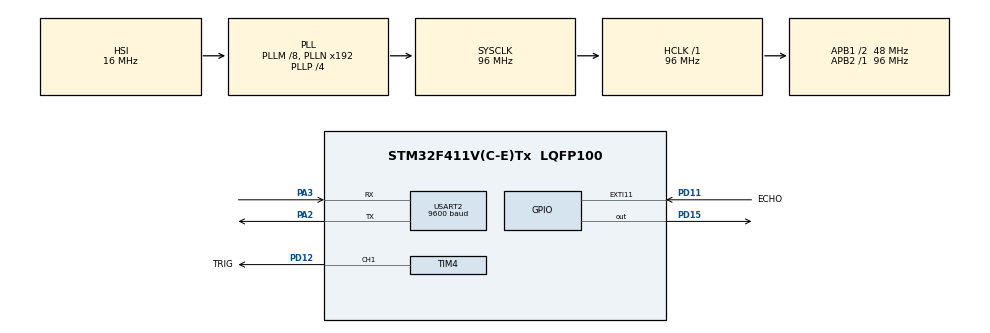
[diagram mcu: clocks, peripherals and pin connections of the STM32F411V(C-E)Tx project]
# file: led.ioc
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Mcu.Family=STM32F4
Mcu.Name=STM32F411V(C-E)Tx
Mcu.Package=LQFP100
NVIC.EXTI15_10_IRQn=true\:0\:0\:false\:false\:true\:true\:true
NVIC.PriorityGroup=NVIC_PRIORITYGROUP_4
NVIC.RCC_IRQn=true\:0\:0\:false\:false\:true\:true\:false
NVIC.TIM1_TRG_COM_TIM11_IRQn=true\:0\:0\:false\:false\:true\:true\:true
NVIC.TIM4_IRQn=true\:0\:0\:false\:false\:true\:true\:true
NVIC.USART2_IRQn=true\:0\:0\:false\:false\:true\:true\:true
PA2.Mode=Asynchronous
PA2.Signal=USART2_TX
PA3.Mode=Asynchronous
PA3.Signal=USART2_RX
PD11.GPIO_Label=ECHO
PD11.GPIO_ModeDefaultEXTI=GPIO_MODE_IT_RISING_FALLING
PD11.Signal=GPXTI11
PD12.GPIO_Label=TRIG
PD12.Signal=S_TIM4_CH1
PD15.Signal=GPIO_Output
PH0\ -\ OSC_IN.Mode=HSE-External-Oscillator
PH0\ -\ OSC_IN.Signal=RCC_OSC_IN
PH1\ -\ OSC_OUT.Mode=HSE-External-Oscillator
PH1\ -\ OSC_OUT.Signal=RCC_OSC_OUT
ProjectManager.HeapSize=0x200
ProjectManager.StackSize=0x400
ProjectManager.TargetToolchain=SW4STM32
RCC.48MHZClocksFreq_Value=96000000
RCC.AHBFreq_Value=96000000
RCC.APB1CLKDivider=RCC_HCLK_DIV2
RCC.APB1Freq_Value=48000000
RCC.APB1TimFreq_Value=96000000
RCC.APB2Freq_Value=96000000
RCC.APB2TimFreq_Value=96000000
RCC.CortexFreq_Value=96000000
RCC.HCLKFreq_Value=96000000
RCC.HSE_VALUE=25000000
RCC.HSI_VALUE=16000000
RCC.LSE_VALUE=32768
RCC.PLLM=8
RCC.PLLP=RCC_PLLP_DIV4
RCC.SYSCLKFreq_VALUE=96000000
RCC.SYSCLKSource=RCC_SYSCLKSOURCE_PLLCLK
RCC.VCOOutputFreq_Value=384000000
SH.S_TIM4_CH1.0=TIM4_CH1,PWM Generation1 CH1
TIM11.Period=60000
TIM11.Prescaler=96
TIM4.Channel-PWM\ Generation1\ CH1=TIM_CHANNEL_1
TIM4.Period=40000
TIM4.Prescaler=96
TIM4.Pulse-PWM\ Generation1\ CH1=10
USART2.BaudRate=9600
USART2.VirtualMode=VM_ASYNC
VP_TIM11_VS_ClockSourceINT.Mode=Enable_Timer
board=custom

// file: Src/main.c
/* USER CODE BEGIN Header */
/**
  ******************************************************************************
  * @file           : main.c
  * @brief          : Main program body
  ******************************************************************************
  * @attention
  *
  * <h2><center>&copy; Copyright (c) 2019 STMicroelectronics.
  * All rights reserved.</center></h2>
  *
  * This software component is licensed by ST under BSD 3-Clause license,
  * the "License"; You may not use this file except in compliance with the
  * License. You may obtain a copy of the License at:
  *                        opensource.org/licenses/BSD-3-Clause
  *
  ******************************************************************************
  */
/* USER CODE END Header */

#include "main.h"
#include "tim.h"
#include "usart.h"
#include "gpio.h"

/* USER CODE BEGIN Includes */
#include "sonar.h"
/* USER CODE END Includes */

void to_array_of_chars(char * ch, uint32_t integer) {
	for(int i = 0; i < 7; i++){
		ch[i] = (char) integer % 10;  // remainder of division with 10 gets the last digit
		integer /= 10;     // dividing by ten chops off the last digit.
	}
}

void SystemClock_Config(void);
/* USER CODE BEGIN PFP */
char * byte;
volatile uint8_t b;
UART_HandleTypeDef huart2;
volatile uint32_t result_for_distance;
volatile uint32_t number = 12345;
volatile uint8_t new_line = '\n';

/* USER CODE BEGIN PFP */
void HAL_GPIO_EXTI_Callback(uint16_t GPIO_Pin)
{
 if( GPIO_Pin == GPIO_PIN_11)
  {
	 if (HAL_GPIO_ReadPin(ECHO_GPIO_Port, ECHO_Pin) == GPIO_PIN_SET) {
		 TIM11_reinit();
	 }
	 else {
		 result_for_distance = get_tim11_us();
	 }
  }
}

void HAL_UART_RxCpltCallback(UART_HandleTypeDef *huart)
{
  if (huart->Instance == USART2)
  {
	__disable_irq();
	to_array_of_chars(byte, number);
    HAL_UART_Transmit(&huart2, byte, 5, 100);
    HAL_UART_Transmit(&huart2, &new_line, 1, 100);
    HAL_UART_Receive_IT(&huart2, &b, 1);
    __enable_irq();
  }
}
/* USER CODE END PFP */

int main(void)
{

  /* MCU Configuration--------------------------------------------------------*/

  /* Reset of all peripherals, Initializes the Flash interface and the Systick. */
  HAL_Init();

  /* Configure the system clock */
  SystemClock_Config();

  /* Initialize all configured peripherals */
  MX_GPIO_Init();
  MX_TIM4_Init();
  MX_USART2_UART_Init();
  MX_TIM11_Init();
  /* USER CODE BEGIN 2 */
  HAL_TIM_PWM_Start(&htim4, TIM_CHANNEL_1);

  /* USER CODE END 2 */

  /* Infinite loop */
  /* USER CODE BEGIN WHILE */
  HAL_UART_Receive_IT(&huart2, &b, 1);

  while (1)
  {
    /* USER CODE END WHILE */

    /* USER CODE BEGIN 3 */
	  HAL_GPIO_WritePin(GPIOD, GPIO_PIN_15, GPIO_PIN_SET);
	 HAL_Delay(100);
	 HAL_GPIO_WritePin(GPIOD, GPIO_PIN_15, GPIO_PIN_RESET);
	 HAL_Delay(100);
  }
  /* USER CODE END 3 */
}

void SystemClock_Config(void)
{
  RCC_OscInitTypeDef RCC_OscInitStruct = {0};
  RCC_ClkInitTypeDef RCC_ClkInitStruct = {0};

  /** Configure the main internal regulator output voltage
  */
  __HAL_RCC_PWR_CLK_ENABLE();
  __HAL_PWR_VOLTAGESCALING_CONFIG(PWR_REGULATOR_VOLTAGE_SCALE1);
  /** Initializes the CPU, AHB and APB busses clocks
  */
  RCC_OscInitStruct.OscillatorType = RCC_OSCILLATORTYPE_HSI;
  RCC_OscInitStruct.HSIState = RCC_HSI_ON;
  RCC_OscInitStruct.HSICalibrationValue = RCC_HSICALIBRATION_DEFAULT;
  RCC_OscInitStruct.PLL.PLLState = RCC_PLL_ON;
  RCC_OscInitStruct.PLL.PLLSource = RCC_PLLSOURCE_HSI;
  RCC_OscInitStruct.PLL.PLLM = 8;
  RCC_OscInitStruct.PLL.PLLN = 192;
  RCC_OscInitStruct.PLL.PLLP = RCC_PLLP_DIV4;
  RCC_OscInitStruct.PLL.PLLQ = 4;
  if (HAL_RCC_OscConfig(&RCC_OscInitStruct) != HAL_OK)
  {
    Error_Handler();
  }
  /** Initializes the CPU, AHB and APB busses clocks
  */
  RCC_ClkInitStruct.ClockType = RCC_CLOCKTYPE_HCLK|RCC_CLOCKTYPE_SYSCLK
                              |RCC_CLOCKTYPE_PCLK1|RCC_CLOCKTYPE_PCLK2;
  RCC_ClkInitStruct.SYSCLKSource = RCC_SYSCLKSOURCE_PLLCLK;
  RCC_ClkInitStruct.AHBCLKDivider = RCC_SYSCLK_DIV1;
  RCC_ClkInitStruct.APB1CLKDivider = RCC_HCLK_DIV2;
  RCC_ClkInitStruct.APB2CLKDivider = RCC_HCLK_DIV1;

  if (HAL_RCC_ClockConfig(&RCC_ClkInitStruct, FLASH_LATENCY_3) != HAL_OK)
  {
    Error_Handler();
  }
}

void Error_Handler(void)
{
}

/************************ (C) COPYRIGHT STMicroelectronics *****END OF FILE****/
